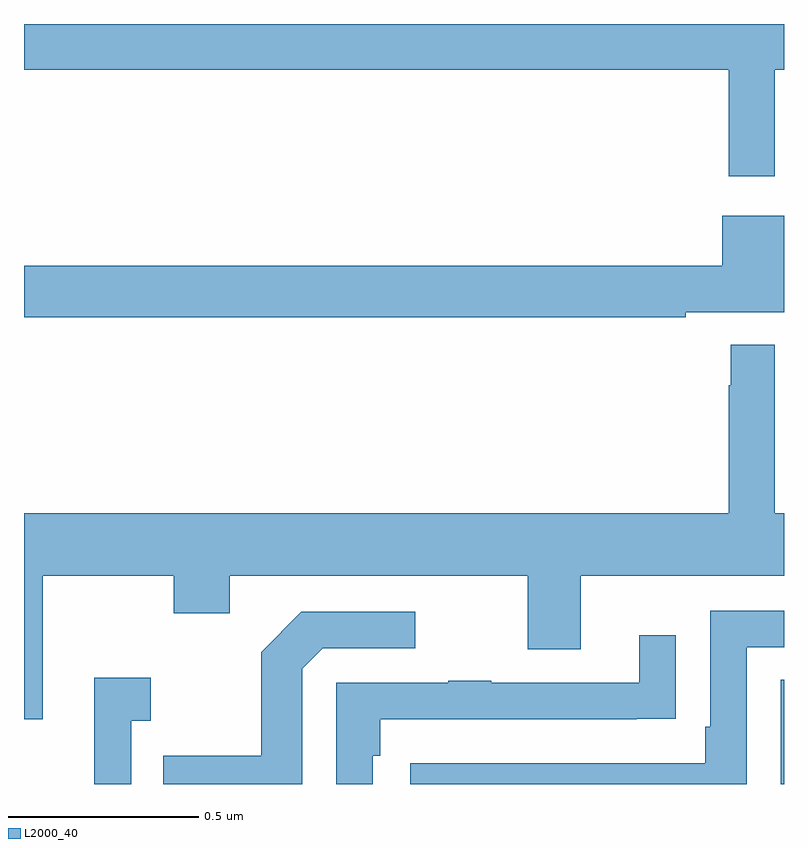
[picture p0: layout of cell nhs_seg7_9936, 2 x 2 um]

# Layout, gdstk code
import gdstk
lib = gdstk.Library(unit=1e-6, precision=1e-09)
def R(c, l, rs):  # rectangles x0, y0, x1, y1
    for r in rs: c.add(gdstk.rectangle(r[:2], r[2:], *l))
def P(c, l, *ps):  # polygons
    for p in ps: c.add(gdstk.Polygon(p, *l))
L2000_40 = (2000, 40)

nhs_seg7_9936 = lib.new_cell('nhs_seg7_9936')
R(nhs_seg7_9936, L2000_40, [(244.992,1068,245,1068.275)])
P(nhs_seg7_9936, L2000_40, [(244.975,1069.88),(245,1069.88),(245,1070),(243,1070),(243,1069.88),(244.854,1069.88),(244.854,1069.599),(244.975,1069.599)],
  [(244.742,1069.241),(245,1069.241),(245,1069.495),(244.838,1069.495),(244.838,1069.364),(243,1069.364),(243,1069.228),(244.742,1069.228)],
  [(243.049,1068.548),(243.394,1068.548),(243.394,1068.449),(243.541,1068.449),(243.541,1068.548),(244.325,1068.548),(244.325,1068.354),(244.465,1068.354),(244.465,1068.548),(245,1068.548),(245,1068.712),(244.975,1068.712),(244.975,1069.156),(244.86,1069.156),(244.86,1069.049),(244.854,1069.049),(244.854,1068.712),(243,1068.712),(243,1068.171),(243.049,1068.171)],
  [(244.902,1068.36),(245,1068.36),(245,1068.456),(244.806,1068.456),(244.806,1068.151),(244.793,1068.151),(244.793,1068.054),(244.017,1068.054),(244.017,1068),(244.902,1068)],
  [(243.732,1068.303),(243.786,1068.357),(244.03,1068.357),(244.03,1068.453),(243.729,1068.453),(243.624,1068.347),(243.624,1068.075),(243.367,1068.075),(243.367,1068),(243.732,1068)],
  [(243.918,1068.074),(243.938,1068.074),(243.938,1068.171),(244.613,1068.171),(244.613,1068.172),(244.715,1068.172),(244.715,1068.391),(244.619,1068.391),(244.619,1068.267),(244.229,1068.267),(244.229,1068.272),(244.117,1068.272),(244.117,1068.267),(243.822,1068.267),(243.822,1068),(243.918,1068)],
  [(243.282,1068.167),(243.334,1068.167),(243.334,1068.28),(243.185,1068.28),(243.185,1068),(243.282,1068)])

lib.write_gds('nhs_seg7_9936.gds')
